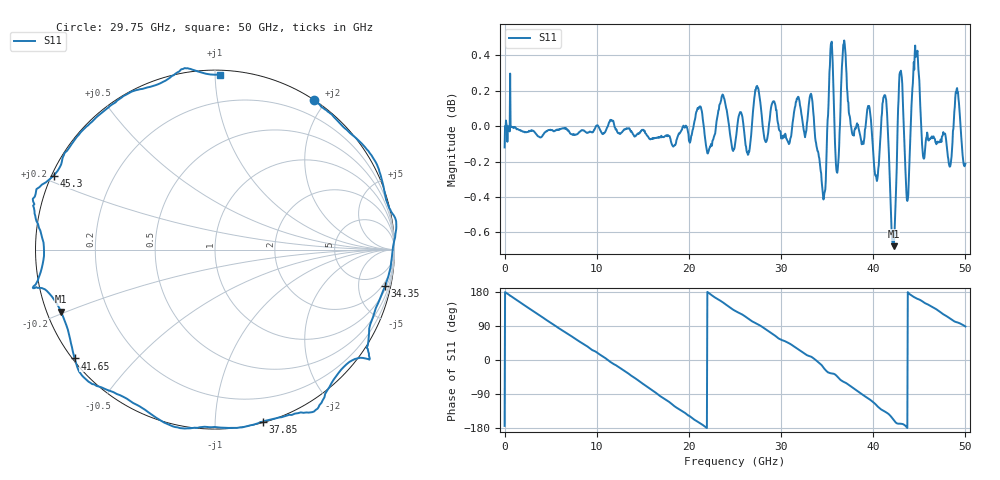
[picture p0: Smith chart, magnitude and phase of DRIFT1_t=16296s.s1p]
!Created with skrf (http://scikit-rf.org).
# Hz S RI R 50.0
!freq ReS11 ImS11
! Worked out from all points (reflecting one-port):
!   1001 points, 300 kHz to 50 GHz, reference 50 ohm
!   lowest |S11| = -0.7 dB at 42.2 GHz (marker M1), VSWR 25.65, Z = 2.02 - j9.69 ohm
!   phase of S11 starts at -174 deg and turns -818 deg over the sweep
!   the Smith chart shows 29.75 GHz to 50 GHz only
!   S11 on the Smith chart (normalised r, x): 29.75 GHz: 0.00, +1.86; 34.35 GHz: 1.33, -9.19; 37.85 GHz: 0.01, -1.32; 41.65 GHz: 0.01, -0.34; 45.3 GHz: 0.01, +0.22; 50 GHz: 0.03, +1.03
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300000  -0.9809 -0.1033
1.500291e9  -0.9059 0.4185
3.25028e9  -0.5916 0.8015
6.250262e9  0.2027 0.9778
9.500243e9  0.8929 0.4417
1.250022e10  0.9317 -0.3496
1.580021e10  0.2367 -0.9629
1.73502e10  -0.2118 -0.9705
1.875019e10  -0.5988 -0.7919
2.150017e10  -0.9936 -0.1499
2.345016e10  -0.9272 0.4158
2.500015e10  -0.6323 0.7593
2.740014e10  -0.0946 1.022
2.975012e10  0.5508 0.8329
3.125011e10  0.7872 0.6203
3.31501e10  1.006 0.1705
3.435009e10  0.9481 -0.2045
3.525009e10  0.8581 -0.5806
3.750008e10  0.3704 -0.9339
3.785007e10  0.2679 -0.9583
3.960006e10  -0.2376 -0.9838
4.165005e10  -0.7822 -0.6062
4.220005e10  -0.8577 -0.3462
4.290004e10  -1.013 -0.2155
4.375004e10  -0.9535 0.0154
4.530003e10  -0.8978 0.4128
4.770001e10  -0.4882 0.867
5e10  0.0262 0.9756
